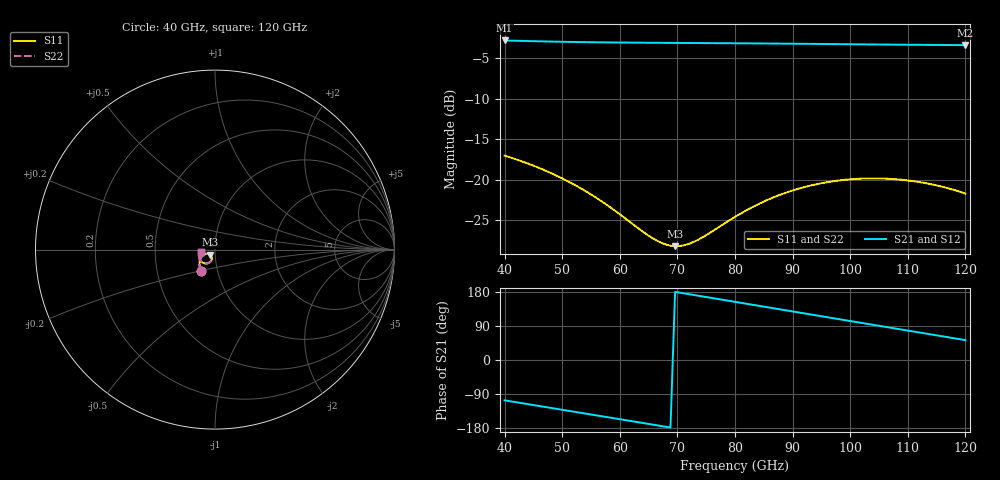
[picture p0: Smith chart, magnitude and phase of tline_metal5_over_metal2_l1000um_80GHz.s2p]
#  GHZ S DB R 50
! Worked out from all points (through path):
!   101 points, 40 GHz to 120 GHz, reference 50 ohm
!   highest |S21| = -2.81 dB at 40 GHz (marker M1); lowest = -3.4 dB at 120 GHz (marker M2)
!   group delay of S21, straight-line fit = 6.99 ps
!   lowest |S11| = -28.2 dB at 69.6 GHz (marker M3), VSWR 1.08, Z = 47.4 - j2.74 ohm
!   |S11| at or under -10 dB: start of sweep to end of sweep
!   |S22| runs from -28.1 to -17.0 dB; largest |S21 - S12| = 8e-14
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40  -17.04 -122.9  -2.81 -106.4  -2.81 -106.4  -17.02 -122.9
46.4  -18.68 -138.1  -2.93 -122.4  -2.93 -122.4  -18.66 -138.1
53.6  -21.23 -151.3  -3.02 -140.3  -3.02 -140.3  -21.20 -151.2
57.6  -23.05 -155.3  -3.05 -150.3  -3.05 -150.3  -23.00 -155.3
60.8  -24.71 -155.5  -3.08 -158.2  -3.08 -158.2  -24.65 -155.5
64.8  -26.83 -149.6  -3.10 -168.2  -3.10 -168.2  -26.75 -149.8
67.2  -27.80 -142.0  -3.11 -174.3  -3.11 -174.3  -27.72 -142.2
69.6  -28.22 -131.9  -3.12 179.7  -3.12 179.7  -28.14 -132.4
71.2  -28.10 -125.1  -3.13 175.7  -3.13 175.7  -28.04 -125.7
73.6  -27.43 -116.6  -3.14 169.6  -3.14 169.6  -27.39 -117.2
76.8  -26.05 -110.0  -3.15 161.6  -3.15 161.6  -26.03 -110.5
80  -24.61 -108.0  -3.16 153.5  -3.16 153.5  -24.61 -108.5
86.4  -22.28 -112.4  -3.20 137.3  -3.20 137.3  -22.29 -112.8
90.4  -21.25 -118.0  -3.22 127.1  -3.22 127.1  -21.27 -118.4
93.6  -20.65 -123.3  -3.24 119.0  -3.24 119.0  -20.67 -123.6
97.6  -20.15 -130.4  -3.27 108.9  -3.27 108.9  -20.17 -130.7
100.8  -19.92 -136.3  -3.29 100.8  -3.29 100.8  -19.95 -136.6
104  -19.85 -142.3  -3.31 92.8  -3.31 92.8  -19.88 -142.6
107.2  -19.92 -148.2  -3.33 84.7  -3.33 84.7  -19.95 -148.5
110.4  -20.14 -154.0  -3.35 76.6  -3.35 76.6  -20.18 -154.3
113.6  -20.51 -159.6  -3.36 68.6  -3.36 68.6  -20.55 -159.8
120  -21.72 -169.3  -3.39 52.5  -3.39 52.5  -21.79 -169.6
